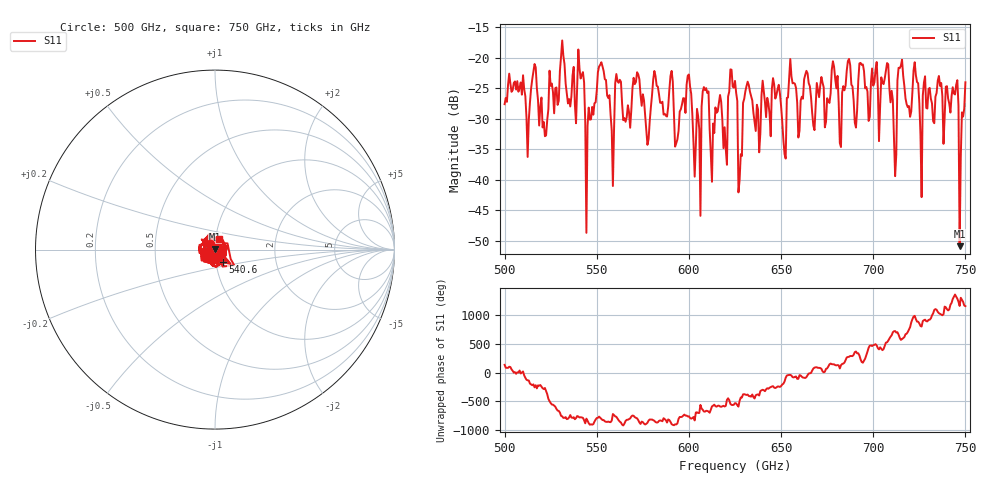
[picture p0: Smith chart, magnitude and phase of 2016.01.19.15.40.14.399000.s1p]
!Created with skrf (http://scikit-rf.org).
# GHz S RI R 50.0
!freq ReS11 ImS11
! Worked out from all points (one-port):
!   401 points, 500 GHz to 750 GHz, reference 50 ohm
!   lowest |S11| = -50.9 dB at 746.9 GHz (marker M1), VSWR 1.01, Z = 50.1 + j0.274 ohm
!   |S11| at or under -10 dB: start of sweep to end of sweep
!   S11 on the Smith chart (normalised r, x): 500 GHz: 0.94, +0.06; 540.6 GHz: 1.08, -0.15; 750 GHz: 1.04, +0.12
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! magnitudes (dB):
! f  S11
! 500 GHz  -27.6
! 516.2 GHz  -21.0
! 521.9 GHz  -32.9
! 531.2 GHz  -17.2
! 540.6 GHz  -21.7
! 545 GHz  -31.2
! 551.9 GHz  -21.2
! 558.1 GHz  -31.9
! 562.5 GHz  -23.6
! 577.5 GHz  -34.3
! 590 GHz  -23.0
! 593.8 GHz  -33.4
! 600 GHz  -22.7
! 603.1 GHz  -39.5
! 609.4 GHz  -25.0
! 612.5 GHz  -40.3
! 619.4 GHz  -31.4
! 625 GHz  -23.8
! 628.1 GHz  -35.8
! 631.2 GHz  -24.6
! 651.2 GHz  -33.5
! 656.2 GHz  -24.2
! 682.5 GHz  -34.6
! 687.5 GHz  -21.2
! 718.8 GHz  -28.1
! 744.4 GHz  -26.0
! 746.9 GHz  -50.9
! 750 GHz  -24.0
